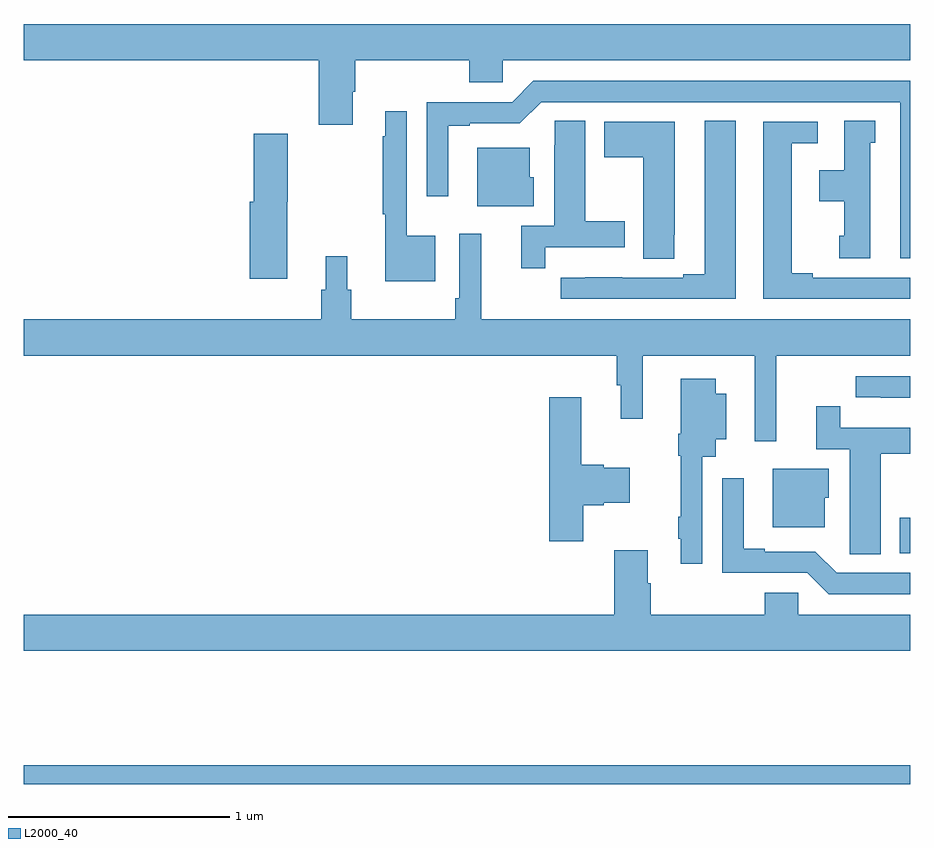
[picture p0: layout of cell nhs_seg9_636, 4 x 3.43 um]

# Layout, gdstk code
import gdstk
lib = gdstk.Library(unit=1e-6, precision=1e-09)
def R(c, l, rs):  # rectangles x0, y0, x1, y1
    for r in rs: c.add(gdstk.rectangle(r[:2], r[2:], *l))
def P(c, l, *ps):  # polygons
    for p in ps: c.add(gdstk.Polygon(p, *l))
L2000_40 = (2000, 40)

nhs_seg9_636 = lib.new_cell('nhs_seg9_636')
R(nhs_seg9_636, L2000_40, [(143,1182.5,147,1182.584), (146.951,1183.541,147,1183.701)])
P(nhs_seg9_636, L2000_40, [(144.484,1185.622),(144.497,1185.622),(144.497,1185.764),(145.01,1185.764),(145.01,1185.666),(145.161,1185.666),(145.161,1185.764),(147,1185.764),(147,1185.928),(143,1185.928),(143,1185.764),(144.332,1185.764),(144.332,1185.474),(144.484,1185.474)],
  [(147,1185.672),(145.299,1185.672),(145.203,1185.576),(144.819,1185.576),(144.819,1185.15),(144.916,1185.15),(144.916,1185.468),(145.012,1185.468),(145.012,1185.48),(145.239,1185.48),(145.335,1185.576),(146.954,1185.576),(146.954,1184.871),(147,1184.871)],
  [(144.856,1184.974),(144.729,1184.974),(144.729,1185.535),(144.632,1185.535),(144.632,1185.422),(144.621,1185.422),(144.621,1185.07),(144.632,1185.07),(144.632,1184.768),(144.856,1184.768)],
  [(145.352,1184.922),(145.711,1184.922),(145.711,1185.039),(145.534,1185.039),(145.534,1185.491),(145.395,1185.491),(145.395,1185.38),(145.394,1185.38),(145.394,1185.018),(145.244,1185.018),(145.244,1184.826),(145.352,1184.826)],
  [(146.818,1185.393),(146.842,1185.393),(146.842,1185.491),(146.702,1185.491),(146.702,1185.268),(146.588,1185.268),(146.588,1185.128),(146.702,1185.128),(146.702,1184.973),(146.678,1184.973),(146.678,1184.871),(146.818,1184.871)],
  [(146.212,1185.491),(146.072,1185.491),(146.072,1184.799),(145.976,1184.799),(145.976,1184.784),(145.7,1184.784),(145.7,1184.785),(145.534,1184.785),(145.534,1184.784),(145.422,1184.784),(145.422,1184.688),(146.212,1184.688)],
  [(145.935,1184.977),(145.936,1184.977),(145.936,1185.487),(145.619,1185.487),(145.619,1185.328),(145.796,1185.328),(145.796,1184.869),(145.935,1184.869)],
  [(147,1184.784),(146.56,1184.784),(146.56,1184.804),(146.464,1184.804),(146.464,1185.39),(146.581,1185.39),(146.581,1185.486),(146.336,1185.486),(146.336,1184.688),(147,1184.688)],
  [(144.19,1185.126),(144.192,1185.126),(144.192,1185.433),(144.038,1185.433),(144.038,1185.126),(144.02,1185.126),(144.02,1184.778),(144.19,1184.778)],
  [(145.3,1185.237),(145.282,1185.237),(145.282,1185.37),(145.046,1185.37),(145.046,1185.107),(145.3,1185.107)],
  [(146.396,1184.432),(147,1184.432),(147,1184.596),(145.064,1184.596),(145.064,1184.983),(144.966,1184.983),(144.966,1184.692),(144.946,1184.692),(144.946,1184.596),(144.479,1184.596),(144.479,1184.73),(144.46,1184.73),(144.46,1184.881),(144.362,1184.881),(144.362,1184.73),(144.343,1184.73),(144.343,1184.596),(143,1184.596),(143,1184.432),(145.675,1184.432),(145.675,1184.298),(145.694,1184.298),(145.694,1184.148),(145.792,1184.148),(145.792,1184.432),(146.298,1184.432),(146.298,1184.046),(146.396,1184.046)],
  [(147,1184.34),(146.754,1184.34),(146.754,1184.244),(146.866,1184.244),(146.866,1184.243),(147,1184.243)],
  [(146.061,1183.976),(146.122,1183.976),(146.122,1184.054),(146.17,1184.054),(146.17,1184.26),(146.122,1184.26),(146.122,1184.329),(145.964,1184.329),(145.964,1184.08),(145.953,1184.08),(145.953,1183.98),(145.963,1183.98),(145.963,1183.706),(145.953,1183.706),(145.953,1183.606),(145.964,1183.606),(145.964,1183.494),(146.061,1183.494)],
  [(145.524,1183.757),(145.617,1183.757),(145.617,1183.769),(145.735,1183.769),(145.735,1183.927),(145.617,1183.927),(145.617,1183.94),(145.516,1183.94),(145.516,1184.245),(145.37,1184.245),(145.37,1183.596),(145.524,1183.596)],
  [(146.866,1183.99),(147,1183.99),(147,1184.106),(146.684,1184.106),(146.684,1184.203),(146.576,1184.203),(146.576,1184.01),(146.726,1184.01),(146.726,1183.648),(146.727,1183.648),(146.727,1183.537),(146.866,1183.537)],
  [(146.614,1183.791),(146.632,1183.791),(146.632,1183.921),(146.378,1183.921),(146.378,1183.658),(146.614,1183.658)],
  [(147,1183.452),(146.667,1183.452),(146.571,1183.548),(146.344,1183.548),(146.344,1183.561),(146.248,1183.561),(146.248,1183.879),(146.151,1183.879),(146.151,1183.452),(146.535,1183.452),(146.631,1183.356),(147,1183.356)],
  [(147,1183.264),(146.493,1183.264),(146.493,1183.362),(146.342,1183.362),(146.342,1183.264),(145.829,1183.264),(145.829,1183.406),(145.816,1183.406),(145.816,1183.555),(145.664,1183.555),(145.664,1183.264),(143,1183.264),(143,1183.1),(147,1183.1)])

lib.write_gds('nhs_seg9_636.gds')
